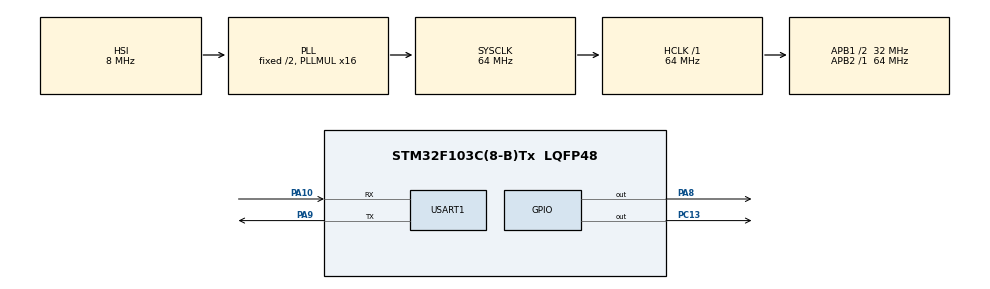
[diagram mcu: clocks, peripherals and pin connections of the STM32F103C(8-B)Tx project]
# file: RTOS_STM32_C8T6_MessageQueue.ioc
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FREERTOS.BinarySemaphores01=semUart,Dynamic,NULL,Available
FREERTOS.Queues01=qMsgQueue,16,uint16_t,0,Dynamic,NULL,NULL
FREERTOS.Tasks01=Task1_LedRed,24,128,S_Task1_LedRed,Default,NULL,Dynamic,NULL,NULL;Task2_LedBlue,24,128,S_Task2_LedBlue,Default,NULL,Dynamic,NULL,NULL;Task3_PrintUart,40,128,S_Task3_PrintUart,Default,NULL,Dynamic,NULL,NULL
FREERTOS.configUSE_NEWLIB_REENTRANT=1
Mcu.Family=STM32F1
Mcu.Name=STM32F103C(8-B)Tx
Mcu.Package=LQFP48
NVIC.PriorityGroup=NVIC_PRIORITYGROUP_4
NVIC.TIM1_UP_IRQn=true\:15\:0\:false\:false\:true\:false\:false\:true\:true
NVIC.TimeBase=TIM1_UP_IRQn
NVIC.TimeBaseIP=TIM1
PA10.Mode=Asynchronous
PA10.Signal=USART1_RX
PA13.Mode=Serial_Wire
PA13.Signal=SYS_JTMS-SWDIO
PA14.Mode=Serial_Wire
PA14.Signal=SYS_JTCK-SWCLK
PA8.Signal=GPIO_Output
PA9.Mode=Asynchronous
PA9.Signal=USART1_TX
PC13-TAMPER-RTC.Signal=GPIO_Output
PD0-OSC_IN.Mode=HSE-External-Oscillator
PD0-OSC_IN.Signal=RCC_OSC_IN
PD1-OSC_OUT.Mode=HSE-External-Oscillator
PD1-OSC_OUT.Signal=RCC_OSC_OUT
ProjectManager.HeapSize=0x200
ProjectManager.StackSize=0x400
ProjectManager.TargetToolchain=STM32CubeIDE
RCC.AHBFreq_Value=64000000
RCC.APB1CLKDivider=RCC_HCLK_DIV2
RCC.APB1Freq_Value=32000000
RCC.APB1TimFreq_Value=64000000
RCC.APB2Freq_Value=64000000
RCC.APB2TimFreq_Value=64000000
RCC.HCLKFreq_Value=64000000
RCC.PLLMUL=RCC_PLL_MUL16
RCC.SYSCLKFreq_VALUE=64000000
RCC.SYSCLKSource=RCC_SYSCLKSOURCE_PLLCLK
RCC.USBFreq_Value=64000000
USART1.VirtualMode=VM_ASYNC
VP_FREERTOS_VS_CMSIS_V2.Mode=CMSIS_V2
VP_SYS_VS_tim1.Mode=TIM1
board=custom

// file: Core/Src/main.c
/* USER CODE BEGIN Header */
/**
  ******************************************************************************
  * @file           : main.c
  * @brief          : Main program body
  ******************************************************************************
  * @attention
  *
  * Copyright (c) 2025 STMicroelectronics.
  * All rights reserved.
  *
  * This software is licensed under terms that can be found in the LICENSE file
  * in the root directory of this software component.
  * If no LICENSE file comes with this software, it is provided AS-IS.
  *
  ******************************************************************************
  */
/* USER CODE END Header */
#include "main.h"
#include "cmsis_os.h"

/* USER CODE BEGIN Includes */
#include "stdio.h"
#include "string.h"
#include "stdbool.h"
/* USER CODE END Includes */

/* USER CODE BEGIN PTD */
#define SEM_UART_USE 1
/* USER CODE END PTD */

UART_HandleTypeDef huart1;

/* Definitions for Task1_LedRed */
osThreadId_t Task1_LedRedHandle;
const osThreadAttr_t Task1_LedRed_attributes = {
  .name = "Task1_LedRed",
  .stack_size = 128 * 4,
  .priority = (osPriority_t) osPriorityNormal,
};
/* Definitions for Task2_LedBlue */
osThreadId_t Task2_LedBlueHandle;
const osThreadAttr_t Task2_LedBlue_attributes = {
  .name = "Task2_LedBlue",
  .stack_size = 128 * 4,
  .priority = (osPriority_t) osPriorityNormal,
};
/* Definitions for Task3_PrintUart */
osThreadId_t Task3_PrintUartHandle;
const osThreadAttr_t Task3_PrintUart_attributes = {
  .name = "Task3_PrintUart",
  .stack_size = 128 * 4,
  .priority = (osPriority_t) osPriorityHigh,
};
/* Definitions for qMsgQueue */
osMessageQueueId_t qMsgQueueHandle;
const osMessageQueueAttr_t qMsgQueue_attributes = {
  .name = "qMsgQueue"
};
/* Definitions for semUart */
osSemaphoreId_t semUartHandle;
const osSemaphoreAttr_t semUart_attributes = {
  .name = "semUart"
};

void SystemClock_Config(void);
static void MX_GPIO_Init(void);
static void MX_USART1_UART_Init(void);
void S_Task1_LedRed(void *argument);
void S_Task2_LedBlue(void *argument);
void S_Task3_PrintUart(void *argument);

/* USER CODE BEGIN 0 */
int _write(int fd, char * ptr, int len) {
  HAL_UART_Transmit( & huart1, (uint8_t * ) ptr, len, HAL_MAX_DELAY);
  return len;
}

typedef struct {
  bool Value;
  uint8_t Source;
}
Datax;

/* USER CODE END 0 */

int main(void)
{

  /* MCU Configuration--------------------------------------------------------*/

  /* Reset of all peripherals, Initializes the Flash interface and the Systick. */
  HAL_Init();

  /* Configure the system clock */
  SystemClock_Config();

  /* Initialize all configured peripherals */
  MX_GPIO_Init();
  MX_USART1_UART_Init();

  /* Init scheduler */
  osKernelInitialize();

  /* Create the semaphores(s) */
  /* creation of semUart */
  semUartHandle = osSemaphoreNew(1, 1, &semUart_attributes);

  /* Create the queue(s) */
  /* creation of qMsgQueue */
  qMsgQueueHandle = osMessageQueueNew (16, sizeof(uint16_t), &qMsgQueue_attributes);

  /* Create the thread(s) */
  /* creation of Task1_LedRed */
  Task1_LedRedHandle = osThreadNew(S_Task1_LedRed, NULL, &Task1_LedRed_attributes);

  /* creation of Task2_LedBlue */
  Task2_LedBlueHandle = osThreadNew(S_Task2_LedBlue, NULL, &Task2_LedBlue_attributes);

  /* creation of Task3_PrintUart */
  Task3_PrintUartHandle = osThreadNew(S_Task3_PrintUart, NULL, &Task3_PrintUart_attributes);

  /* Start scheduler */
  osKernelStart();

  /* We should never get here as control is now taken by the scheduler */

  /* Infinite loop */
  while (1)
  {

  }
}

void SystemClock_Config(void)
{
  RCC_OscInitTypeDef RCC_OscInitStruct = {0};
  RCC_ClkInitTypeDef RCC_ClkInitStruct = {0};

  /** Initializes the RCC Oscillators according to the specified parameters
  * in the RCC_OscInitTypeDef structure.
  */
  RCC_OscInitStruct.OscillatorType = RCC_OSCILLATORTYPE_HSI;
  RCC_OscInitStruct.HSIState = RCC_HSI_ON;
  RCC_OscInitStruct.HSICalibrationValue = RCC_HSICALIBRATION_DEFAULT;
  RCC_OscInitStruct.PLL.PLLState = RCC_PLL_ON;
  RCC_OscInitStruct.PLL.PLLSource = RCC_PLLSOURCE_HSI_DIV2;
  RCC_OscInitStruct.PLL.PLLMUL = RCC_PLL_MUL16;
  if (HAL_RCC_OscConfig(&RCC_OscInitStruct) != HAL_OK)
  {
    Error_Handler();
  }

  /** Initializes the CPU, AHB and APB buses clocks
  */
  RCC_ClkInitStruct.ClockType = RCC_CLOCKTYPE_HCLK|RCC_CLOCKTYPE_SYSCLK
                              |RCC_CLOCKTYPE_PCLK1|RCC_CLOCKTYPE_PCLK2;
  RCC_ClkInitStruct.SYSCLKSource = RCC_SYSCLKSOURCE_PLLCLK;
  RCC_ClkInitStruct.AHBCLKDivider = RCC_SYSCLK_DIV1;
  RCC_ClkInitStruct.APB1CLKDivider = RCC_HCLK_DIV2;
  RCC_ClkInitStruct.APB2CLKDivider = RCC_HCLK_DIV1;

  if (HAL_RCC_ClockConfig(&RCC_ClkInitStruct, FLASH_LATENCY_2) != HAL_OK)
  {
    Error_Handler();
  }
}

static void MX_USART1_UART_Init(void)
{

  huart1.Instance = USART1;
  huart1.Init.BaudRate = 115200;
  huart1.Init.WordLength = UART_WORDLENGTH_8B;
  huart1.Init.StopBits = UART_STOPBITS_1;
  huart1.Init.Parity = UART_PARITY_NONE;
  huart1.Init.Mode = UART_MODE_TX_RX;
  huart1.Init.HwFlowCtl = UART_HWCONTROL_NONE;
  huart1.Init.OverSampling = UART_OVERSAMPLING_16;
  if (HAL_UART_Init(&huart1) != HAL_OK)
  {
    Error_Handler();
  }

}

static void MX_GPIO_Init(void)
{
  GPIO_InitTypeDef GPIO_InitStruct = {0};

  /* GPIO Ports Clock Enable */
  __HAL_RCC_GPIOC_CLK_ENABLE();
  __HAL_RCC_GPIOD_CLK_ENABLE();
  __HAL_RCC_GPIOA_CLK_ENABLE();

  /*Configure GPIO pin Output Level */
  HAL_GPIO_WritePin(GPIOC, GPIO_PIN_13, GPIO_PIN_RESET);

  /*Configure GPIO pin Output Level */
  HAL_GPIO_WritePin(GPIOA, GPIO_PIN_8, GPIO_PIN_RESET);

  /*Configure GPIO pin : PC13 */
  GPIO_InitStruct.Pin = GPIO_PIN_13;
  GPIO_InitStruct.Mode = GPIO_MODE_OUTPUT_PP;
  GPIO_InitStruct.Pull = GPIO_NOPULL;
  GPIO_InitStruct.Speed = GPIO_SPEED_FREQ_LOW;
  HAL_GPIO_Init(GPIOC, &GPIO_InitStruct);

  /*Configure GPIO pin : PA8 */
  GPIO_InitStruct.Pin = GPIO_PIN_8;
  GPIO_InitStruct.Mode = GPIO_MODE_OUTPUT_PP;
  GPIO_InitStruct.Pull = GPIO_NOPULL;
  GPIO_InitStruct.Speed = GPIO_SPEED_FREQ_LOW;
  HAL_GPIO_Init(GPIOA, &GPIO_InitStruct);

}

void S_Task1_LedRed(void *argument)
{
  /* USER CODE BEGIN 5 */
	uint32_t next_wake_time = osKernelGetTickCount();
	Datax pData;

	pData.Source = 1;

	bool ledStatus = false;
  /* Infinite loop */
  for(;;)
  {
#if SEM_UART_USE
	osSemaphoreAcquire(semUartHandle, osWaitForever);
#endif
//	printf("Task 1 in: %ld\n", osKernelGetTickCount());

#if SEM_UART_USE
	osSemaphoreRelease(semUartHandle);
#endif

	HAL_GPIO_WritePin(GPIOC, GPIO_PIN_13, ledStatus);

	pData.Value = ledStatus;
	osMessageQueuePut(qMsgQueueHandle, &pData, 2, 100);

	ledStatus = !ledStatus;

#if SEM_UART_USE
	osSemaphoreAcquire(semUartHandle, osWaitForever);
#endif
//	printf("Task 1 out: %ld\n\n", osKernelGetTickCount());

#if SEM_UART_USE
	osSemaphoreRelease(semUartHandle);
#endif

	next_wake_time += 1000;
	osDelayUntil(next_wake_time);

  }
  /* USER CODE END 5 */
}

void S_Task2_LedBlue(void *argument)
{
  /* USER CODE BEGIN S_Task2_LedBlue */
	uint32_t next_wake_time = osKernelGetTickCount();
	Datax pData;

	pData.Source = 2;
	bool ledStatus = false;
  /* Infinite loop */
  for(;;)
  {
#if SEM_UART_USE
	osSemaphoreAcquire(semUartHandle, osWaitForever);
#endif
//	printf("Task 2 in: %ld\n", osKernelGetTickCount());
#if SEM_UART_USE
	osSemaphoreRelease(semUartHandle);
#endif

	HAL_GPIO_WritePin(GPIOA, GPIO_PIN_8, ledStatus);

	pData.Value = ledStatus;
	osMessageQueuePut(qMsgQueueHandle, &pData, 1, 100);

	ledStatus = !ledStatus;

#if SEM_UART_USE
	osSemaphoreAcquire(semUartHandle, osWaitForever);
#endif
//	printf("Task 2 out: %ld\n\n", osKernelGetTickCount());
#if SEM_UART_USE
	osSemaphoreRelease(semUartHandle);
#endif

	next_wake_time += 1500;
	osDelayUntil(next_wake_time);
  }
  /* USER CODE END S_Task2_LedBlue */
}

void S_Task3_PrintUart(void *argument)
{
  /* USER CODE BEGIN S_Task3_PrintUart */
	Datax pDataGet;
  /* Infinite loop */
  for(;;)
  {
	osMessageQueueGet(qMsgQueueHandle, &pDataGet, NULL, osWaitForever);

	printf("Get data from Task: %d   Led status: %d\n", pDataGet.Source, pDataGet.Value);
    osDelay(1);
  }
  /* USER CODE END S_Task3_PrintUart */
}

void HAL_TIM_PeriodElapsedCallback(TIM_HandleTypeDef *htim)
{
  if (htim->Instance == TIM1) {
    HAL_IncTick();
  }
}

void Error_Handler(void)
{
  __disable_irq();
  while (1)
  {
  }
}
